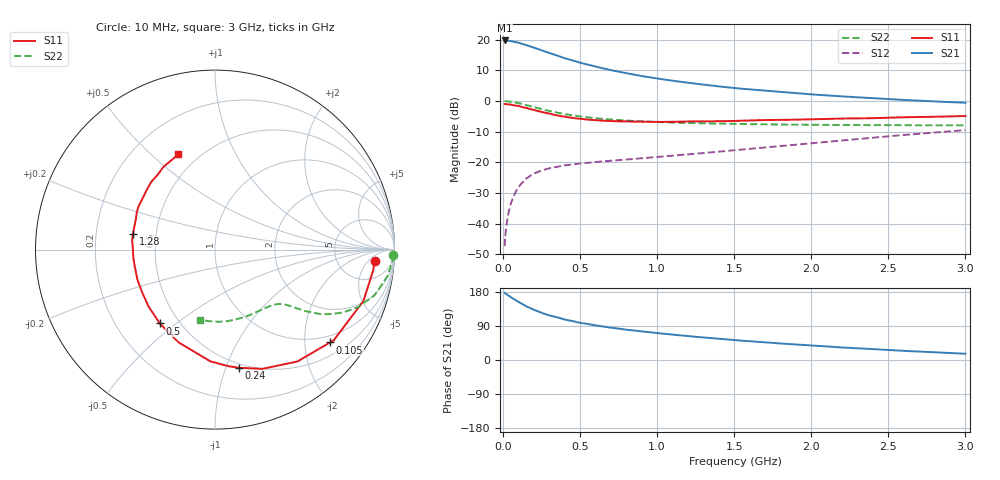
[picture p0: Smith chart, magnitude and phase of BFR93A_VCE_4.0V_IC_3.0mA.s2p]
! Infineon Technologies  Discrete & RF Semiconductors
! BFR93A
! VCE =  4.0 V,  IC =  3.0 mA
! Common Emitter S-Parameters:  Nov 2015
# GHz  S  MA  R  50
!  f  S11  S21  S12  S22
! GHz  MAG  ANG  MAG  ANG  MAG  ANG  MAG  ANG
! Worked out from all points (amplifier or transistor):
!   180 points, 10 MHz to 3 GHz, reference 50 ohm
!   highest |S21| = 19.7 dB at 10 MHz (marker M1)
!   |S21| within 3 dB of that: start of sweep to 237.3 MHz
!   unconditionally stable (mu >= 1): 882.1 MHz to 2.623 GHz
!   at 160 MHz: K = 0.25, MSG = 21.5 dB, |S12| = -25.0 dB
!   at 1.22 GHz: K = 1.13, MAG = 9.4 dB, |S12| = -17.3 dB
!   at 3 GHz: K = 0.94, MSG = 4.5 dB, |S12| = -9.5 dB
!   S11 on the Smith chart (normalised r, x): 10 MHz: 13, -8; 105 MHz: 0.81, -2.61; 240 MHz: 0.46, -1.11; 500 MHz: 0.39, -0.44; 1.28 GHz: 0.37, +0.08; 3 GHz: 0.39, +0.61
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0.01  0.8935 -3.9  9.694 177.0  0.0043 87.9  0.994 -1.8
0.015  0.8905 -5.7  9.678 175.6  0.0065 86.0  0.9924 -2.6
0.025  0.8839 -9.5  9.624 172.7  0.0107 83.3  0.9877 -4.2
0.05  0.8753 -19.1  9.487 165.7  0.021 79.7  0.9743 -8.5
0.1  0.8323 -37.4  8.936 153.3  0.0396 70.4  0.9255 -15.9
0.105  0.8237 -38.9  8.845 152.2  0.041 69.3  0.9185 -16.5
0.15  0.7743 -53.6  8.178 141.8  0.0543 62.2  0.86 -21.8
0.2  0.7151 -68.3  7.43 132.5  0.0656 56.8  0.7956 -26.1
0.24  0.6721 -78.4  6.824 126.1  0.0721 52.7  0.748 -28.6
0.3  0.6234 -92.3  6.052 117.7  0.08 48.9  0.6866 -31.5
0.4  0.5553 -111.5  4.983 106.7  0.0892 45.0  0.6103 -34.2
0.5  0.5137 -126.8  4.202 98.1  0.0957 43.1  0.5591 -35.7
0.52  0.5064 -129.2  4.082 96.9  0.0968 43.0  0.5519 -35.9
0.6  0.4871 -139.6  3.625 91.2  0.1012 42.8  0.523 -36.9
0.7  0.4704 -149.9  3.178 85.2  0.1064 43.2  0.4978 -38.0
0.9  0.4574 -167.2  2.545 75.4  0.1165 45.3  0.4647 -40.7
1.02  0.4567 -175.6  2.284 70.2  0.1234 46.8  0.4526 -42.6
1.28  0.4651 168.9  1.875 60.1  0.1403 50.1  0.433 -47.8
1.52  0.4742 158.0  1.605 51.9  0.1587 52.7  0.4218 -53.5
2.02  0.5041 139.3  1.271 37.8  0.2071 55.5  0.4085 -67.4
2.52  0.535 124.2  1.067 26.0  0.2686 54.4  0.4031 -83.8
3  0.5685 111.0  0.936 16.5  0.335 50.7  0.401 -102.2
